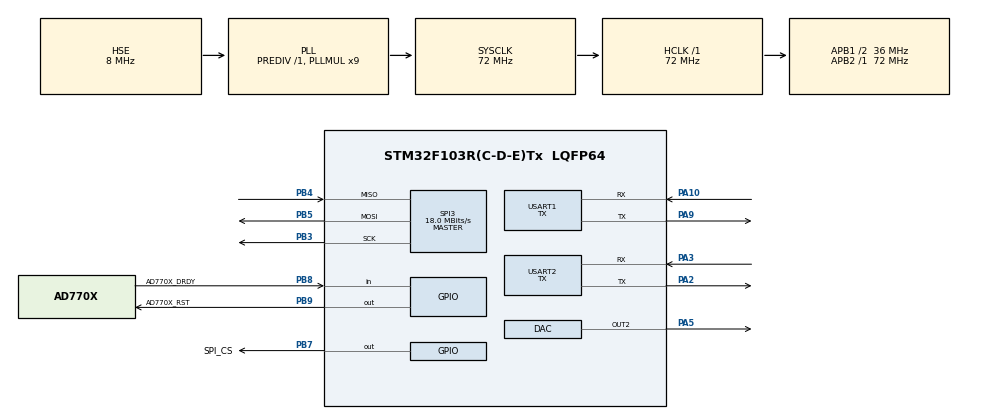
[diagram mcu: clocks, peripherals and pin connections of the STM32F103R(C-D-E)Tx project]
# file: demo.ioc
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DAC.DAC_Trigger2=DAC_TRIGGER_NONE
Mcu.Family=STM32F1
Mcu.Name=STM32F103R(C-D-E)Tx
Mcu.Package=LQFP64
NVIC.PriorityGroup=NVIC_PRIORITYGROUP_4
NVIC.USART1_IRQn=true\:0\:0\:false\:false\:true\:true\:true\:true
PA10.Mode=Asynchronous
PA10.Signal=USART1_RX
PA13.Mode=Serial_Wire
PA13.Signal=SYS_JTMS-SWDIO
PA14.Mode=Serial_Wire
PA14.Signal=SYS_JTCK-SWCLK
PA2.Mode=Asynchronous
PA2.Signal=USART2_TX
PA3.Mode=Asynchronous
PA3.Signal=USART2_RX
PA5.Signal=COMP_DAC2_group
PA9.Mode=Asynchronous
PA9.Signal=USART1_TX
PB3.Mode=Full_Duplex_Master
PB3.Signal=SPI3_SCK
PB4.Mode=Full_Duplex_Master
PB4.Signal=SPI3_MISO
PB5.Mode=Full_Duplex_Master
PB5.Signal=SPI3_MOSI
PB7.GPIO_Label=SPI_CS
PB7.GPIO_PuPd=GPIO_PULLUP
PB7.PinState=GPIO_PIN_SET
PB7.Signal=GPIO_Output
PB8.GPIO_Label=AD770X_DRDY
PB8.GPIO_PuPd=GPIO_PULLUP
PB8.Signal=GPIO_Input
PB9.GPIO_Label=AD770X_RST
PB9.GPIO_PuPd=GPIO_PULLDOWN
PB9.PinState=GPIO_PIN_SET
PB9.Signal=GPIO_Output
PD0-OSC_IN.Mode=HSE-External-Oscillator
PD0-OSC_IN.Signal=RCC_OSC_IN
PD1-OSC_OUT.Mode=HSE-External-Oscillator
PD1-OSC_OUT.Signal=RCC_OSC_OUT
ProjectManager.HeapSize=0x200
ProjectManager.StackSize=0x400
ProjectManager.TargetToolchain=MDK-ARM V5
RCC.AHBFreq_Value=72000000
RCC.APB1CLKDivider=RCC_HCLK_DIV2
RCC.APB1Freq_Value=36000000
RCC.APB1TimFreq_Value=72000000
RCC.APB2Freq_Value=72000000
RCC.APB2TimFreq_Value=72000000
RCC.HCLKFreq_Value=72000000
RCC.PLLMUL=RCC_PLL_MUL9
RCC.PLLSourceVirtual=RCC_PLLSOURCE_HSE
RCC.SYSCLKFreq_VALUE=72000000
RCC.SYSCLKSource=RCC_SYSCLKSOURCE_PLLCLK
RCC.USBFreq_Value=72000000
SH.COMP_DAC2_group.0=DAC_OUT2,DAC_OUT2
SPI3.BaudRatePrescaler=SPI_BAUDRATEPRESCALER_2
SPI3.CLKPhase=SPI_PHASE_2EDGE
SPI3.CLKPolarity=SPI_POLARITY_HIGH
SPI3.CalculateBaudRate=18.0 MBits/s
SPI3.Direction=SPI_DIRECTION_2LINES
SPI3.Mode=SPI_MODE_MASTER
SPI3.VirtualType=VM_MASTER
USART1.Mode=MODE_TX
USART1.VirtualMode=VM_ASYNC
USART2.Mode=MODE_TX
USART2.VirtualMode=VM_ASYNC
board=custom

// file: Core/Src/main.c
/* USER CODE BEGIN Header */
/**
 ******************************************************************************
 * @file           : main.c
 * @brief          : Main program body
 ******************************************************************************
 * @attention
 *
 * <h2><center>&copy; Copyright (c) 2022 STMicroelectronics.
 * All rights reserved.</center></h2>
 *
 * This software component is licensed by ST under BSD 3-Clause license,
 * the "License"; You may not use this file except in compliance with the
 * License. You may obtain a copy of the License at:
 *                        opensource.org/licenses/BSD-3-Clause
 *
 ******************************************************************************
 */
/* USER CODE END Header */
#include "main.h"
#include "dac.h"
#include "spi.h"
#include "usart.h"
#include "gpio.h"

/* USER CODE BEGIN Includes */
#include <string.h>
#include "ad770x/ad770x.h"
/* USER CODE END Includes */

void SystemClock_Config(void);

/* USER CODE BEGIN 0 */

void dac_set(uint16_t val)
{
    HAL_DAC_SetValue(&hdac, DAC_CHANNEL_2, DAC_ALIGN_12B_R, val);
}

#define AD770X_CH1  1
#define AD770X_CH2  1
#define AD770X_VREF 2.5f

#define AD770X_PRINT_FREQ_ONLY 1

void ad770x_print(void)
{
    static uint32_t t   = 0;
    static uint8_t  cnt = 0;
    static float    hz  = 0;
    static uint16_t dac = 0;

#if AD770X_PRINT_FREQ_ONLY

#if AD770X_CH1
    // ad770x_wait_data_ready(AD7705_CHANNEL_AIN1P_AIN1N);
    ad770x_read_adc(AD7705_CHANNEL_AIN1P_AIN1N);
#endif
#if AD770X_CH2
    // ad770x_wait_data_ready(AD7705_CHANNEL_AIN2P_AIN2N);
    ad770x_read_adc(AD7705_CHANNEL_AIN2P_AIN2N);
#endif

    // ch1: 50hz -> 0.02s,   ch2: 60hz -> 0.016s,  t_total = t_ch1 + t_ch2 = 0.036s => 8.9hz
    // ch1: 250hz -> 0.004s, ch2: 250hz -> 0.004s, t_total = t_ch1 + t_ch2 = 0.008s => 39.64hz

#else

    printf("%.2f,%.2f,%.2f,%.2f\r\n", hz,

#if 0
           dac * 3.3f / 4095,
#else
           HAL_DAC_GetValue(&hdac, DAC_CHANNEL_2) * 3.3f / 4095,
#endif

#if AD770X_CH1
           ad770x_read_adc(AD7705_CHANNEL_AIN1P_AIN1N) * AD770X_VREF / 65535,
#else
           0.0f,
#endif

#if AD770X_CH2
           ad770x_read_adc(AD7705_CHANNEL_AIN2P_AIN2N) * AD770X_VREF / 65535
#else
           0.0f
#endif
    );

    dac += 5;
    if (dac > 4095)
        dac = 0;

    dac_set(dac);

#endif

    uint32_t ms = HAL_GetTick();

    if (t == 0) {
        t = ms;
    } else if ((ms - t) >= 1000) {
        hz  = 1000.0f * cnt / (ms - t);
        t   = ms;
        cnt = 0;
#if AD770X_PRINT_FREQ_ONLY
        printf("%.2f\r\n", hz);
#endif
    } else {
        ++cnt;
        return;
    }
}

/* USER CODE END 0 */

int main(void)
{

    /* MCU Configuration--------------------------------------------------------*/

    /* Reset of all peripherals, Initializes the Flash interface and the Systick. */
    HAL_Init();

    /* Configure the system clock */
    SystemClock_Config();

    /* Initialize all configured peripherals */
    MX_GPIO_Init();
    MX_USART1_UART_Init();
    MX_USART2_UART_Init();
    MX_SPI3_Init();
    MX_DAC_Init();
    /* USER CODE BEGIN 2 */

    ad770x_reset();
    ad770x_sync_spi();

#if AD770X_CH1
    ad770x_config_channel(
        AD7705_CHANNEL_AIN1P_AIN1N,
        AD770X_MODE_CALIBRATION_SELF,
        AD770X_CLOCK_4_9152_MHZ,
        AD770X_GAIN_2,
        AD770X_POLARITY_BIPOLAR,
        AD770X_UPDATE_RATE_50_HZ);
#endif
#if AD770X_CH2
    ad770x_config_channel(
        AD7705_CHANNEL_AIN2P_AIN2N,
        AD770X_MODE_CALIBRATION_SELF,
        AD770X_CLOCK_4_9152_MHZ,
        AD770X_GAIN_8,
        AD770X_POLARITY_BIPOLAR,
        AD770X_UPDATE_RATE_60_HZ);
#endif

    HAL_DAC_Start(&hdac, DAC_CHANNEL_2);

    /* USER CODE END 2 */

    /* Infinite loop */
    /* USER CODE BEGIN WHILE */
    while (1) {
        ad770x_print();
        /* USER CODE END WHILE */

    }
}

void SystemClock_Config(void)
{
    RCC_OscInitTypeDef RCC_OscInitStruct = {0};
    RCC_ClkInitTypeDef RCC_ClkInitStruct = {0};

    /** Initializes the RCC Oscillators according to the specified parameters
     * in the RCC_OscInitTypeDef structure.
     */
    RCC_OscInitStruct.OscillatorType = RCC_OSCILLATORTYPE_HSE;
    RCC_OscInitStruct.HSEState       = RCC_HSE_ON;
    RCC_OscInitStruct.HSEPredivValue = RCC_HSE_PREDIV_DIV1;
    RCC_OscInitStruct.HSIState       = RCC_HSI_ON;
    RCC_OscInitStruct.PLL.PLLState   = RCC_PLL_ON;
    RCC_OscInitStruct.PLL.PLLSource  = RCC_PLLSOURCE_HSE;
    RCC_OscInitStruct.PLL.PLLMUL     = RCC_PLL_MUL9;
    if (HAL_RCC_OscConfig(&RCC_OscInitStruct) != HAL_OK) {
        Error_Handler();
    }

    /** Initializes the CPU, AHB and APB buses clocks
     */
    RCC_ClkInitStruct.ClockType      = RCC_CLOCKTYPE_HCLK | RCC_CLOCKTYPE_SYSCLK | RCC_CLOCKTYPE_PCLK1 | RCC_CLOCKTYPE_PCLK2;
    RCC_ClkInitStruct.SYSCLKSource   = RCC_SYSCLKSOURCE_PLLCLK;
    RCC_ClkInitStruct.AHBCLKDivider  = RCC_SYSCLK_DIV1;
    RCC_ClkInitStruct.APB1CLKDivider = RCC_HCLK_DIV2;
    RCC_ClkInitStruct.APB2CLKDivider = RCC_HCLK_DIV1;

    if (HAL_RCC_ClockConfig(&RCC_ClkInitStruct, FLASH_LATENCY_2) != HAL_OK) {
        Error_Handler();
    }
}

void Error_Handler(void)
{
}
